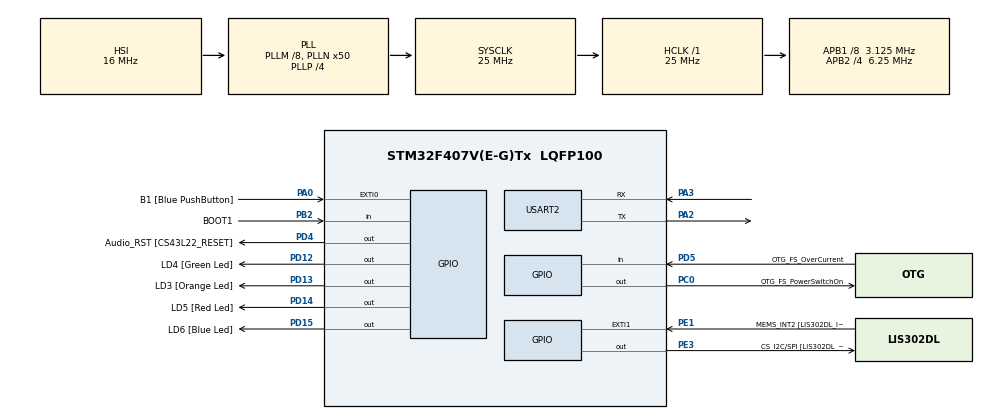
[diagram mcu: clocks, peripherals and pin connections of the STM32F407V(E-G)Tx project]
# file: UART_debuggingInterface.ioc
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Mcu.Family=STM32F4
Mcu.Name=STM32F407V(E-G)Tx
Mcu.Package=LQFP100
NVIC.PriorityGroup=NVIC_PRIORITYGROUP_0
NVIC.USART2_IRQn=true\:0\:0\:false\:false\:true
PA0-WKUP.GPIO_Label=B1 [Blue PushButton]
PA0-WKUP.GPIO_ModeDefaultEXTI=GPIO_MODE_EVT_RISING
PA0-WKUP.GPIO_PuPd=GPIO_NOPULL
PA0-WKUP.Signal=GPXTI0
PA10.GPIO_Label=OTG_FS_ID
PA10.GPIO_Mode=GPIO_MODE_AF_PP
PA10.GPIO_PuPd=GPIO_NOPULL
PA10.GPIO_Speed=GPIO_SPEED_FREQ_LOW
PA10.Signal=USB_OTG_FS_ID
PA11.GPIO_Label=OTG_FS_DM
PA11.GPIO_Mode=GPIO_MODE_AF_PP
PA11.GPIO_PuPd=GPIO_NOPULL
PA11.GPIO_Speed=GPIO_SPEED_FREQ_LOW
PA11.Signal=USB_OTG_FS_DM
PA12.GPIO_Label=OTG_FS_DP
PA12.GPIO_Mode=GPIO_MODE_AF_PP
PA12.GPIO_PuPd=GPIO_NOPULL
PA12.GPIO_Speed=GPIO_SPEED_FREQ_LOW
PA12.Signal=USB_OTG_FS_DP
PA13.GPIO_Label=SWDIO
PA13.Signal=SYS_JTMS-SWDIO
PA14.GPIO_Label=SWCLK
PA14.Signal=SYS_JTCK-SWCLK
PA2.Mode=Asynchronous
PA2.Signal=USART2_TX
PA3.Mode=Asynchronous
PA3.Signal=USART2_RX
PA4.GPIO_Label=I2S3_WS [CS43L22_LRCK]
PA4.GPIO_Mode=GPIO_MODE_AF_PP
PA4.GPIO_PuPd=GPIO_NOPULL
PA4.GPIO_Speed=GPIO_SPEED_FREQ_LOW
PA4.Signal=I2S3_WS
PA5.GPIO_Label=SPI1_SCK [LIS302DL_SCL/SPC]
PA5.GPIO_Mode=GPIO_MODE_AF_PP
PA5.GPIO_PuPd=GPIO_NOPULL
PA5.GPIO_Speed=GPIO_SPEED_FREQ_LOW
PA5.Signal=SPI1_SCK
PA6.GPIO_Label=SPI1_MISO [LIS302DL_SDO]
PA6.GPIO_Mode=GPIO_MODE_AF_PP
PA6.GPIO_PuPd=GPIO_NOPULL
PA6.GPIO_Speed=GPIO_SPEED_FREQ_LOW
PA6.Signal=SPI1_MISO
PA7.GPIO_Label=SPI1_MOSI [LIS302DL_SDA/SDI/SDO]
PA7.GPIO_Mode=GPIO_MODE_AF_PP
PA7.GPIO_PuPd=GPIO_NOPULL
PA7.GPIO_Speed=GPIO_SPEED_FREQ_LOW
PA7.Signal=SPI1_MOSI
PA9.GPIO_Label=VBUS_FS
PA9.GPIO_Mode=GPIO_MODE_INPUT
PA9.GPIO_PuPd=GPIO_NOPULL
PA9.Signal=USB_OTG_FS_VBUS
PB10.GPIO_Label=CLK_IN [MP45DT02_CLK]
PB10.GPIO_Mode=GPIO_MODE_AF_PP
PB10.GPIO_PuPd=GPIO_NOPULL
PB10.GPIO_Speed=GPIO_SPEED_FREQ_LOW
PB10.Signal=I2S2_CK
PB2.GPIO_Label=BOOT1
PB2.GPIO_Mode=GPIO_MODE_INPUT
PB2.GPIO_PuPd=GPIO_NOPULL
PB2.Signal=GPIO_Input
PB3.GPIO_Label=SWO
PB3.Signal=SYS_JTDO-SWO
PB6.GPIO_Label=Audio_SCL [CS43L22_SCL]
PB6.GPIO_Mode=GPIO_MODE_AF_OD
PB6.GPIO_PuPd=GPIO_NOPULL
PB6.GPIO_Speed=GPIO_SPEED_FREQ_LOW
PB6.Signal=I2C1_SCL
PB9.GPIO_Label=Audio_SDA [CS43L22_SDA]
PB9.GPIO_Mode=GPIO_MODE_AF_OD
PB9.GPIO_PuPd=GPIO_NOPULL
PB9.GPIO_Speed=GPIO_SPEED_FREQ_LOW
PB9.Signal=I2C1_SDA
PC0.GPIO_Label=OTG_FS_PowerSwitchOn
PC0.GPIO_PuPd=GPIO_NOPULL
PC0.GPIO_Speed=GPIO_SPEED_FREQ_LOW
PC0.PinState=GPIO_PIN_SET
PC0.Signal=GPIO_Output
PC10.GPIO_Label=I2S3_SCK [CS43L22_SCLK]
PC10.GPIO_Mode=GPIO_MODE_AF_PP
PC10.GPIO_PuPd=GPIO_NOPULL
PC10.GPIO_Speed=GPIO_SPEED_FREQ_LOW
PC10.Signal=I2S3_CK
PC12.GPIO_Label=I2S3_SD [CS43L22_SDIN]
PC12.GPIO_Mode=GPIO_MODE_AF_PP
PC12.GPIO_PuPd=GPIO_NOPULL
PC12.GPIO_Speed=GPIO_SPEED_FREQ_LOW
PC12.Signal=I2S3_SD
PC14-OSC32_IN.GPIO_Label=PC14-OSC32_IN
PC14-OSC32_IN.Signal=RCC_OSC32_IN
PC15-OSC32_OUT.GPIO_Label=PC15-OSC32_OUT
PC15-OSC32_OUT.Signal=RCC_OSC32_OUT
PC3.GPIO_Label=PDM_OUT [MP45DT02_DOUT]
PC3.GPIO_Mode=GPIO_MODE_AF_PP
PC3.GPIO_PuPd=GPIO_NOPULL
PC3.GPIO_Speed=GPIO_SPEED_FREQ_LOW
PC3.Signal=I2S2_SD
PC7.GPIO_Label=I2S3_MCK [CS43L22_MCLK]
PC7.GPIO_Mode=GPIO_MODE_AF_PP
PC7.GPIO_PuPd=GPIO_NOPULL
PC7.GPIO_Speed=GPIO_SPEED_FREQ_LOW
PC7.Signal=I2S3_MCK
PD12.GPIO_Label=LD4 [Green Led]
PD12.GPIO_PuPd=GPIO_NOPULL
PD12.GPIO_Speed=GPIO_SPEED_FREQ_LOW
PD12.Signal=GPIO_Output
PD13.GPIO_Label=LD3 [Orange Led]
PD13.GPIO_PuPd=GPIO_NOPULL
PD13.GPIO_Speed=GPIO_SPEED_FREQ_LOW
PD13.Signal=GPIO_Output
PD14.GPIO_Label=LD5 [Red Led]
PD14.GPIO_PuPd=GPIO_NOPULL
PD14.GPIO_Speed=GPIO_SPEED_FREQ_LOW
PD14.Signal=GPIO_Output
PD15.GPIO_Label=LD6 [Blue Led]
PD15.GPIO_PuPd=GPIO_NOPULL
PD15.GPIO_Speed=GPIO_SPEED_FREQ_LOW
PD15.Signal=GPIO_Output
PD4.GPIO_Label=Audio_RST [CS43L22_RESET]
PD4.GPIO_PuPd=GPIO_NOPULL
PD4.GPIO_Speed=GPIO_SPEED_FREQ_LOW
PD4.Signal=GPIO_Output
PD5.GPIO_Label=OTG_FS_OverCurrent
PD5.GPIO_Mode=GPIO_MODE_INPUT
PD5.GPIO_PuPd=GPIO_NOPULL
PD5.Signal=GPIO_Input
PE1.GPIO_Label=MEMS_INT2 [LIS302DL_INT2]
PE1.GPIO_ModeDefaultEXTI=GPIO_MODE_EVT_RISING
PE1.GPIO_PuPd=GPIO_NOPULL
PE1.Signal=GPXTI1
PE3.GPIO_Label=CS_I2C/SPI [LIS302DL_CS_I2C/SPI]
PE3.GPIO_PuPd=GPIO_NOPULL
PE3.GPIO_Speed=GPIO_SPEED_FREQ_LOW
PE3.Signal=GPIO_Output
PH0-OSC_IN.GPIO_Label=PH0-OSC_IN
PH0-OSC_IN.Signal=RCC_OSC_IN
PH1-OSC_OUT.GPIO_Label=PH1-OSC_OUT
PH1-OSC_OUT.Signal=RCC_OSC_OUT
ProjectManager.HeapSize=0x200
ProjectManager.StackSize=0x400
ProjectManager.TargetToolchain=EWARM
RCC.48MHZClocksFreq_Value=14285714.285714285
RCC.AHBFreq_Value=25000000
RCC.APB1CLKDivider=RCC_HCLK_DIV8
RCC.APB1Freq_Value=3125000
RCC.APB1TimFreq_Value=6250000
RCC.APB2CLKDivider=RCC_HCLK_DIV4
RCC.APB2Freq_Value=6250000
RCC.APB2TimFreq_Value=12500000
RCC.CortexFreq_Value=25000000
RCC.HCLKFreq_Value=25000000
RCC.HSE_VALUE=8000000
RCC.HSI_VALUE=16000000
RCC.LSE_VALUE=32768
RCC.PLLM=8
RCC.PLLN=50
RCC.PLLP=RCC_PLLP_DIV4
RCC.PLLQ=7
RCC.SYSCLKFreq_VALUE=25000000
RCC.SYSCLKSource=RCC_SYSCLKSOURCE_PLLCLK
RCC.VCOOutputFreq_Value=100000000
USART2.VirtualMode=VM_ASYNC
board=STM32F4DISCOVERY

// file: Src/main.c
/**
  ******************************************************************************
  * File Name          : main.c
  * Description        : Main program body
  ******************************************************************************
  ** This notice applies to any and all portions of this file
  * that are not between comment pairs USER CODE BEGIN and
  * USER CODE END. Other portions of this file, whether
  * inserted by the user or by software development tools
  * are owned by their respective copyright owners.
  *
  * COPYRIGHT(c) 2017 STMicroelectronics
  *
  * Redistribution and use in source and binary forms, with or without modification,
  * are permitted provided that the following conditions are met:
  *   1. Redistributions of source code must retain the above copyright notice,
  *      this list of conditions and the following disclaimer.
  *   2. Redistributions in binary form must reproduce the above copyright notice,
  *      this list of conditions and the following disclaimer in the documentation
  *      and/or other materials provided with the distribution.
  *   3. Neither the name of STMicroelectronics nor the names of its contributors
  *      may be used to endorse or promote products derived from this software
  *      without specific prior written permission.
  *
  * THIS SOFTWARE IS PROVIDED BY THE COPYRIGHT HOLDERS AND CONTRIBUTORS "AS IS"
  * AND ANY EXPRESS OR IMPLIED WARRANTIES, INCLUDING, BUT NOT LIMITED TO, THE
  * IMPLIED WARRANTIES OF MERCHANTABILITY AND FITNESS FOR A PARTICULAR PURPOSE ARE
  * DISCLAIMED. IN NO EVENT SHALL THE COPYRIGHT HOLDER OR CONTRIBUTORS BE LIABLE
  * FOR ANY DIRECT, INDIRECT, INCIDENTAL, SPECIAL, EXEMPLARY, OR CONSEQUENTIAL
  * DAMAGES (INCLUDING, BUT NOT LIMITED TO, PROCUREMENT OF SUBSTITUTE GOODS OR
  * SERVICES; LOSS OF USE, DATA, OR PROFITS; OR BUSINESS INTERRUPTION) HOWEVER
  * CAUSED AND ON ANY THEORY OF LIABILITY, WHETHER IN CONTRACT, STRICT LIABILITY,
  * OR TORT (INCLUDING NEGLIGENCE OR OTHERWISE) ARISING IN ANY WAY OUT OF THE USE
  * OF THIS SOFTWARE, EVEN IF ADVISED OF THE POSSIBILITY OF SUCH DAMAGE.
  *
  ******************************************************************************
  */
#include "main.h"
#include "stm32f4xx_hal.h"

/* USER CODE BEGIN Includes */
#include "string.h"
/* USER CODE END Includes */

UART_HandleTypeDef huart2;

/* USER CODE BEGIN PV */
/* Private variables ---------------------------------------------------------*/
board_status status;
unsigned char Rxbuf;
int received;

/* USER CODE END PV */

void SystemClock_Config(void);
static void MX_GPIO_Init(void);
static void MX_USART2_UART_Init(void);

/* USER CODE BEGIN PFP */
/* Private function prototypes -----------------------------------------------*/
void st_clear(void);
void st_read(void);
void st_show(void);

/* USER CODE END PFP */

int main(void)
{

  /* MCU Configuration----------------------------------------------------------*/

  /* Reset of all peripherals, Initializes the Flash interface and the Systick. */
  HAL_Init();

  /* Configure the system clock */
  SystemClock_Config();

  /* Initialize all configured peripherals */
  MX_GPIO_Init();
  MX_USART2_UART_Init();

  /* USER CODE BEGIN 2 */
  __HAL_UART_ENABLE_IT(&huart2, UART_IT_RXNE);
  HAL_UART_Receive_IT(&huart2, &Rxbuf, 1);

  /* USER CODE END 2 */

  /* Infinite loop */
  /* USER CODE BEGIN WHILE */
  while (1)
  {
	  if(received){
		  received = 0;
		  switch (Rxbuf){
			  case '!': st_read(); break;
			  case '$': st_clear(); break;
			  case '%': st_show(); break;
			  default:
				  if(status.rxIdx == 100) {
					  status.rxIdx = 0;
					  status.overflow = 1;
				  }
				  status.rxBuf[status.rxIdx] = Rxbuf;
				  status.rxIdx++;
		  }
 	 }
  /* USER CODE END WHILE */

  }

}

/** System Clock Configuration
*/
void SystemClock_Config(void)
{

  RCC_OscInitTypeDef RCC_OscInitStruct;
  RCC_ClkInitTypeDef RCC_ClkInitStruct;

    /**Configure the main internal regulator output voltage
    */
  __HAL_RCC_PWR_CLK_ENABLE();

  __HAL_PWR_VOLTAGESCALING_CONFIG(PWR_REGULATOR_VOLTAGE_SCALE1);

    /**Initializes the CPU, AHB and APB busses clocks
    */
  RCC_OscInitStruct.OscillatorType = RCC_OSCILLATORTYPE_HSI;
  RCC_OscInitStruct.HSIState = RCC_HSI_ON;
  RCC_OscInitStruct.HSICalibrationValue = 16;
  RCC_OscInitStruct.PLL.PLLState = RCC_PLL_ON;
  RCC_OscInitStruct.PLL.PLLSource = RCC_PLLSOURCE_HSI;
  RCC_OscInitStruct.PLL.PLLM = 8;
  RCC_OscInitStruct.PLL.PLLN = 50;
  RCC_OscInitStruct.PLL.PLLP = RCC_PLLP_DIV4;
  RCC_OscInitStruct.PLL.PLLQ = 7;
  if (HAL_RCC_OscConfig(&RCC_OscInitStruct) != HAL_OK)
  {
    _Error_Handler(__FILE__, __LINE__);
  }

    /**Initializes the CPU, AHB and APB busses clocks
    */
  RCC_ClkInitStruct.ClockType = RCC_CLOCKTYPE_HCLK|RCC_CLOCKTYPE_SYSCLK
                              |RCC_CLOCKTYPE_PCLK1|RCC_CLOCKTYPE_PCLK2;
  RCC_ClkInitStruct.SYSCLKSource = RCC_SYSCLKSOURCE_PLLCLK;
  RCC_ClkInitStruct.AHBCLKDivider = RCC_SYSCLK_DIV1;
  RCC_ClkInitStruct.APB1CLKDivider = RCC_HCLK_DIV8;
  RCC_ClkInitStruct.APB2CLKDivider = RCC_HCLK_DIV4;

  if (HAL_RCC_ClockConfig(&RCC_ClkInitStruct, FLASH_LATENCY_0) != HAL_OK)
  {
    _Error_Handler(__FILE__, __LINE__);
  }

    /**Configure the Systick interrupt time
    */
  HAL_SYSTICK_Config(HAL_RCC_GetHCLKFreq()/1000);

    /**Configure the Systick
    */
  HAL_SYSTICK_CLKSourceConfig(SYSTICK_CLKSOURCE_HCLK);

  /* SysTick_IRQn interrupt configuration */
  HAL_NVIC_SetPriority(SysTick_IRQn, 0, 0);
}

/* USART2 init function */
static void MX_USART2_UART_Init(void)
{

  huart2.Instance = USART2;
  huart2.Init.BaudRate = 115200;
  huart2.Init.WordLength = UART_WORDLENGTH_8B;
  huart2.Init.StopBits = UART_STOPBITS_1;
  huart2.Init.Parity = UART_PARITY_NONE;
  huart2.Init.Mode = UART_MODE_TX_RX;
  huart2.Init.HwFlowCtl = UART_HWCONTROL_NONE;
  huart2.Init.OverSampling = UART_OVERSAMPLING_16;
  if (HAL_UART_Init(&huart2) != HAL_OK)
  {
    _Error_Handler(__FILE__, __LINE__);
  }

}

/** Configure pins as
        * Analog
        * Input
        * Output
        * EVENT_OUT
        * EXTI
     PC3   ------> I2S2_SD
     PA4   ------> I2S3_WS
     PA5   ------> SPI1_SCK
     PA6   ------> SPI1_MISO
     PA7   ------> SPI1_MOSI
     PB10   ------> I2S2_CK
     PC7   ------> I2S3_MCK
     PA9   ------> USB_OTG_FS_VBUS
     PA10   ------> USB_OTG_FS_ID
     PA11   ------> USB_OTG_FS_DM
     PA12   ------> USB_OTG_FS_DP
     PC10   ------> I2S3_CK
     PC12   ------> I2S3_SD
     PB6   ------> I2C1_SCL
     PB9   ------> I2C1_SDA
*/
static void MX_GPIO_Init(void)
{

  GPIO_InitTypeDef GPIO_InitStruct;

  /* GPIO Ports Clock Enable */
  __HAL_RCC_GPIOE_CLK_ENABLE();
  __HAL_RCC_GPIOC_CLK_ENABLE();
  __HAL_RCC_GPIOH_CLK_ENABLE();
  __HAL_RCC_GPIOA_CLK_ENABLE();
  __HAL_RCC_GPIOB_CLK_ENABLE();
  __HAL_RCC_GPIOD_CLK_ENABLE();

  /*Configure GPIO pin Output Level */
  HAL_GPIO_WritePin(CS_I2C_SPI_GPIO_Port, CS_I2C_SPI_Pin, GPIO_PIN_RESET);

  /*Configure GPIO pin Output Level */
  HAL_GPIO_WritePin(OTG_FS_PowerSwitchOn_GPIO_Port, OTG_FS_PowerSwitchOn_Pin, GPIO_PIN_SET);

  /*Configure GPIO pin Output Level */
  HAL_GPIO_WritePin(GPIOD, LD4_Pin|LD3_Pin|LD5_Pin|LD6_Pin
                          |Audio_RST_Pin, GPIO_PIN_RESET);

  /*Configure GPIO pin : CS_I2C_SPI_Pin */
  GPIO_InitStruct.Pin = CS_I2C_SPI_Pin;
  GPIO_InitStruct.Mode = GPIO_MODE_OUTPUT_PP;
  GPIO_InitStruct.Pull = GPIO_NOPULL;
  GPIO_InitStruct.Speed = GPIO_SPEED_FREQ_LOW;
  HAL_GPIO_Init(CS_I2C_SPI_GPIO_Port, &GPIO_InitStruct);

  /*Configure GPIO pin : OTG_FS_PowerSwitchOn_Pin */
  GPIO_InitStruct.Pin = OTG_FS_PowerSwitchOn_Pin;
  GPIO_InitStruct.Mode = GPIO_MODE_OUTPUT_PP;
  GPIO_InitStruct.Pull = GPIO_NOPULL;
  GPIO_InitStruct.Speed = GPIO_SPEED_FREQ_LOW;
  HAL_GPIO_Init(OTG_FS_PowerSwitchOn_GPIO_Port, &GPIO_InitStruct);

  /*Configure GPIO pin : PDM_OUT_Pin */
  GPIO_InitStruct.Pin = PDM_OUT_Pin;
  GPIO_InitStruct.Mode = GPIO_MODE_AF_PP;
  GPIO_InitStruct.Pull = GPIO_NOPULL;
  GPIO_InitStruct.Speed = GPIO_SPEED_FREQ_LOW;
  GPIO_InitStruct.Alternate = GPIO_AF5_SPI2;
  HAL_GPIO_Init(PDM_OUT_GPIO_Port, &GPIO_InitStruct);

  /*Configure GPIO pin : B1_Pin */
  GPIO_InitStruct.Pin = B1_Pin;
  GPIO_InitStruct.Mode = GPIO_MODE_EVT_RISING;
  GPIO_InitStruct.Pull = GPIO_NOPULL;
  HAL_GPIO_Init(B1_GPIO_Port, &GPIO_InitStruct);

  /*Configure GPIO pin : I2S3_WS_Pin */
  GPIO_InitStruct.Pin = I2S3_WS_Pin;
  GPIO_InitStruct.Mode = GPIO_MODE_AF_PP;
  GPIO_InitStruct.Pull = GPIO_NOPULL;
  GPIO_InitStruct.Speed = GPIO_SPEED_FREQ_LOW;
  GPIO_InitStruct.Alternate = GPIO_AF6_SPI3;
  HAL_GPIO_Init(I2S3_WS_GPIO_Port, &GPIO_InitStruct);

  /*Configure GPIO pins : SPI1_SCK_Pin SPI1_MISO_Pin SPI1_MOSI_Pin */
  GPIO_InitStruct.Pin = SPI1_SCK_Pin|SPI1_MISO_Pin|SPI1_MOSI_Pin;
  GPIO_InitStruct.Mode = GPIO_MODE_AF_PP;
  GPIO_InitStruct.Pull = GPIO_NOPULL;
  GPIO_InitStruct.Speed = GPIO_SPEED_FREQ_LOW;
  GPIO_InitStruct.Alternate = GPIO_AF5_SPI1;
  HAL_GPIO_Init(GPIOA, &GPIO_InitStruct);

  /*Configure GPIO pin : BOOT1_Pin */
  GPIO_InitStruct.Pin = BOOT1_Pin;
  GPIO_InitStruct.Mode = GPIO_MODE_INPUT;
  GPIO_InitStruct.Pull = GPIO_NOPULL;
  HAL_GPIO_Init(BOOT1_GPIO_Port, &GPIO_InitStruct);

  /*Configure GPIO pin : CLK_IN_Pin */
  GPIO_InitStruct.Pin = CLK_IN_Pin;
  GPIO_InitStruct.Mode = GPIO_MODE_AF_PP;
  GPIO_InitStruct.Pull = GPIO_NOPULL;
  GPIO_InitStruct.Speed = GPIO_SPEED_FREQ_LOW;
  GPIO_InitStruct.Alternate = GPIO_AF5_SPI2;
  HAL_GPIO_Init(CLK_IN_GPIO_Port, &GPIO_InitStruct);

  /*Configure GPIO pins : LD4_Pin LD3_Pin LD5_Pin LD6_Pin
                           Audio_RST_Pin */
  GPIO_InitStruct.Pin = LD4_Pin|LD3_Pin|LD5_Pin|LD6_Pin
                          |Audio_RST_Pin;
  GPIO_InitStruct.Mode = GPIO_MODE_OUTPUT_PP;
  GPIO_InitStruct.Pull = GPIO_NOPULL;
  GPIO_InitStruct.Speed = GPIO_SPEED_FREQ_LOW;
  HAL_GPIO_Init(GPIOD, &GPIO_InitStruct);

  /*Configure GPIO pins : I2S3_MCK_Pin I2S3_SCK_Pin I2S3_SD_Pin */
  GPIO_InitStruct.Pin = I2S3_MCK_Pin|I2S3_SCK_Pin|I2S3_SD_Pin;
  GPIO_InitStruct.Mode = GPIO_MODE_AF_PP;
  GPIO_InitStruct.Pull = GPIO_NOPULL;
  GPIO_InitStruct.Speed = GPIO_SPEED_FREQ_LOW;
  GPIO_InitStruct.Alternate = GPIO_AF6_SPI3;
  HAL_GPIO_Init(GPIOC, &GPIO_InitStruct);

  /*Configure GPIO pin : VBUS_FS_Pin */
  GPIO_InitStruct.Pin = VBUS_FS_Pin;
  GPIO_InitStruct.Mode = GPIO_MODE_INPUT;
  GPIO_InitStruct.Pull = GPIO_NOPULL;
  HAL_GPIO_Init(VBUS_FS_GPIO_Port, &GPIO_InitStruct);

  /*Configure GPIO pins : OTG_FS_ID_Pin OTG_FS_DM_Pin OTG_FS_DP_Pin */
  GPIO_InitStruct.Pin = OTG_FS_ID_Pin|OTG_FS_DM_Pin|OTG_FS_DP_Pin;
  GPIO_InitStruct.Mode = GPIO_MODE_AF_PP;
  GPIO_InitStruct.Pull = GPIO_NOPULL;
  GPIO_InitStruct.Speed = GPIO_SPEED_FREQ_LOW;
  GPIO_InitStruct.Alternate = GPIO_AF10_OTG_FS;
  HAL_GPIO_Init(GPIOA, &GPIO_InitStruct);

  /*Configure GPIO pin : OTG_FS_OverCurrent_Pin */
  GPIO_InitStruct.Pin = OTG_FS_OverCurrent_Pin;
  GPIO_InitStruct.Mode = GPIO_MODE_INPUT;
  GPIO_InitStruct.Pull = GPIO_NOPULL;
  HAL_GPIO_Init(OTG_FS_OverCurrent_GPIO_Port, &GPIO_InitStruct);

  /*Configure GPIO pins : Audio_SCL_Pin Audio_SDA_Pin */
  GPIO_InitStruct.Pin = Audio_SCL_Pin|Audio_SDA_Pin;
  GPIO_InitStruct.Mode = GPIO_MODE_AF_OD;
  GPIO_InitStruct.Pull = GPIO_PULLUP;
  GPIO_InitStruct.Speed = GPIO_SPEED_FREQ_LOW;
  GPIO_InitStruct.Alternate = GPIO_AF4_I2C1;
  HAL_GPIO_Init(GPIOB, &GPIO_InitStruct);

  /*Configure GPIO pin : MEMS_INT2_Pin */
  GPIO_InitStruct.Pin = MEMS_INT2_Pin;
  GPIO_InitStruct.Mode = GPIO_MODE_EVT_RISING;
  GPIO_InitStruct.Pull = GPIO_NOPULL;
  HAL_GPIO_Init(MEMS_INT2_GPIO_Port, &GPIO_InitStruct);

}

/* USER CODE BEGIN 4 */
void st_clear(void){
	for(int i=0; i<100; i++){
		status.rxBuf[i] = '\0';
	}
	status.rxIdx = 0;
	unsigned char *msg = "\r\nThe Buffer is cleared\r\n";
	HAL_UART_Transmit(&huart2, msg, strlen(msg), 300);
}
void st_read(void){
	unsigned char msg[50] = "\r\nThis is reading status\r\n";
	HAL_UART_Transmit(&huart2, msg, strlen(msg), 300);
	sprintf(msg, "Total number of data is %d\r\n", status.rxIdx);
	HAL_UART_Transmit(&huart2, msg, strlen(msg), 300);
	if(status.overflow) {
		sprintf(msg, "The buffer was overflowed\r\n");
		HAL_UART_Transmit(&huart2, msg, strlen(msg), 300);
		for (int i=0; i<100; i++){
			sprintf(msg,"Idx %d data %c\r\n", i, status.rxBuf[i]);
			HAL_UART_Transmit(&huart2, msg, strlen(msg), 300);
		}
	} else{
		for(int i=0; i< status.rxIdx; i++){
			sprintf(msg,"Idx %d data %c\r\n", i, status.rxBuf[i]);
			HAL_UART_Transmit(&huart2, msg, strlen(msg), 300);
		}
	}
}

void st_show(void){
	unsigned char msg[200];
	if(status.overflow) {
	sprintf(msg, "\r\nThis is status info. Current item number is:%d, Buffer is overflowed\r\nThis is key info.\r\n! is reading buffer, $ is clearing buffer, %c is showing buffer status.\r\n", status.rxIdx, '%');
	} else{
	sprintf(msg, "\r\nThis is status info. Current item number is:%d\r\nThis is key info.\r\n! is reading buffer, $ is clearing buffer, %c is showing buffer status.\r\n", status.rxIdx, '%');
	}
	HAL_UART_Transmit(&huart2, msg, strlen(msg), 300);
}

/* USER CODE END 4 */

void _Error_Handler(char * file, int line)
{
  while(1)
  {
  }
}

/************************ (C) COPYRIGHT STMicroelectronics *****END OF FILE****/
